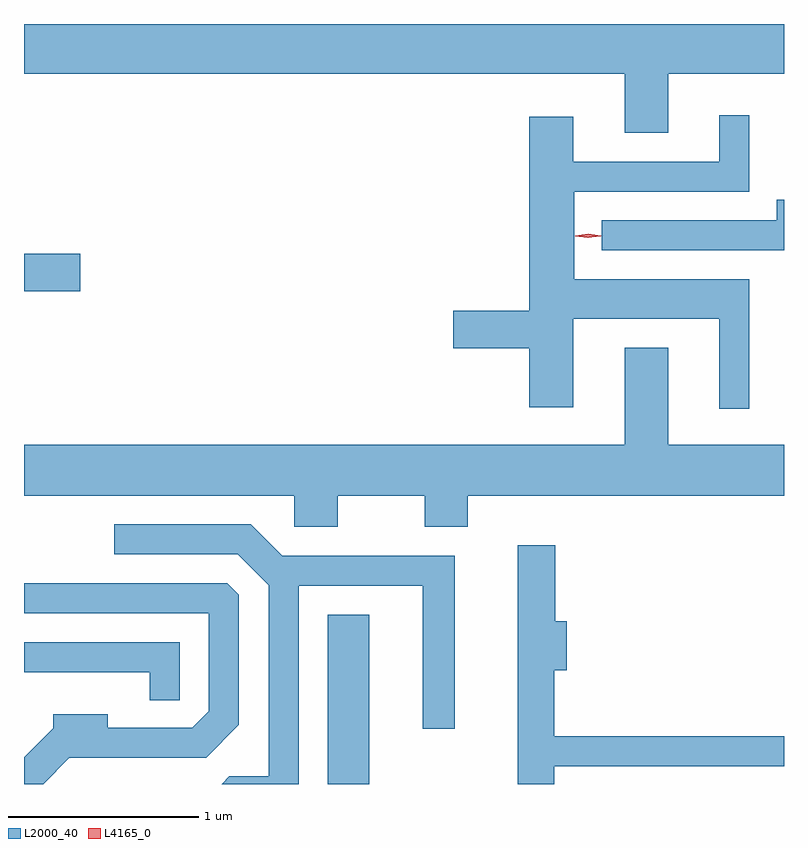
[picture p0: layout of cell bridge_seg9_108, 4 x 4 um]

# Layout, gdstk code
import gdstk
lib = gdstk.Library(unit=1e-6, precision=1e-09)
def R(c, l, rs):  # rectangles x0, y0, x1, y1
    for r in rs: c.add(gdstk.rectangle(r[:2], r[2:], *l))
def P(c, l, *ps):  # polygons
    for p in ps: c.add(gdstk.Polygon(p, *l))
L2000_40 = (2000, 40)
L4165_0 = (4165, 0)

bridge_seg9_108 = lib.new_cell('bridge_seg9_108')
R(bridge_seg9_108, L2000_40, [(1799.316,1961.438,1799.534,1962.329), (1797.718,1964.031,1798.014,1964.229)])
P(bridge_seg9_108, L2000_40, [(1801.109,1965.176),(1801.718,1965.176),(1801.718,1965.438),(1797.718,1965.438),(1797.718,1965.176),(1800.881,1965.176),(1800.881,1964.866),(1801.109,1964.866)],
  [(1801.534,1964.094),(1800.614,1964.094),(1800.614,1964.556),(1801.534,1964.556),(1801.534,1964.958),(1801.376,1964.958),(1801.376,1964.714),(1800.609,1964.714),(1800.609,1964.949),(1800.376,1964.949),(1800.376,1963.929),(1799.976,1963.929),(1799.976,1963.731),(1800.376,1963.731),(1800.376,1963.421),(1800.609,1963.421),(1800.609,1963.886),(1801.376,1963.886),(1801.376,1963.413),(1801.534,1963.413)],
  [(1801.718,1964.514),(1801.681,1964.514),(1801.681,1964.404),(1800.758,1964.404),(1800.758,1964.246),(1801.718,1964.246)],
  [(1799.369,1962.956),(1799.826,1962.956),(1799.826,1962.791),(1800.054,1962.791),(1800.054,1962.956),(1801.718,1962.956),(1801.718,1963.224),(1801.109,1963.224),(1801.109,1963.734),(1800.881,1963.734),(1800.881,1963.224),(1797.718,1963.224),(1797.718,1962.956),(1799.141,1962.956),(1799.141,1962.791),(1799.369,1962.791)],
  [(1799.164,1962.481),(1799.816,1962.481),(1799.816,1961.728),(1799.984,1961.728),(1799.984,1962.639),(1799.077,1962.639),(1798.912,1962.804),(1798.193,1962.804),(1798.193,1962.646),(1798.844,1962.646),(1799.006,1962.484),(1799.006,1961.479),(1798.799,1961.479),(1798.758,1961.438),(1799.164,1961.438)],
  [(1800.509,1961.531),(1801.718,1961.531),(1801.718,1961.689),(1800.509,1961.689),(1800.509,1962.036),(1800.574,1962.036),(1800.574,1962.294),(1800.514,1962.294),(1800.514,1962.694),(1800.316,1962.694),(1800.316,1961.438),(1800.509,1961.438)],
  [(1797.957,1961.576),(1798.677,1961.576),(1798.849,1961.749),(1798.849,1962.434),(1798.789,1962.494),(1797.718,1962.494),(1797.718,1962.336),(1798.691,1962.336),(1798.691,1961.822),(1798.604,1961.734),(1798.159,1961.734),(1798.159,1961.804),(1797.871,1961.804),(1797.871,1961.732),(1797.718,1961.578),(1797.718,1961.438),(1797.819,1961.438)],
  [(1798.539,1962.184),(1797.718,1962.184),(1797.718,1962.026),(1798.381,1962.026),(1798.381,1961.878),(1798.539,1961.878)])
P(bridge_seg9_108, L4165_0, [(1800.687,1964.314),(1800.618,1964.323),(1800.617,1964.324),(1800.618,1964.324),(1800.687,1964.334),(1800.756,1964.324),(1800.756,1964.324),(1800.756,1964.323)],
  [(1800.686,1964.312),(1800.62,1964.322),(1800.62,1964.322),(1800.62,1964.323),(1800.686,1964.332),(1800.752,1964.323),(1800.753,1964.322),(1800.752,1964.322)])

lib.write_gds('bridge_seg9_108.gds')
